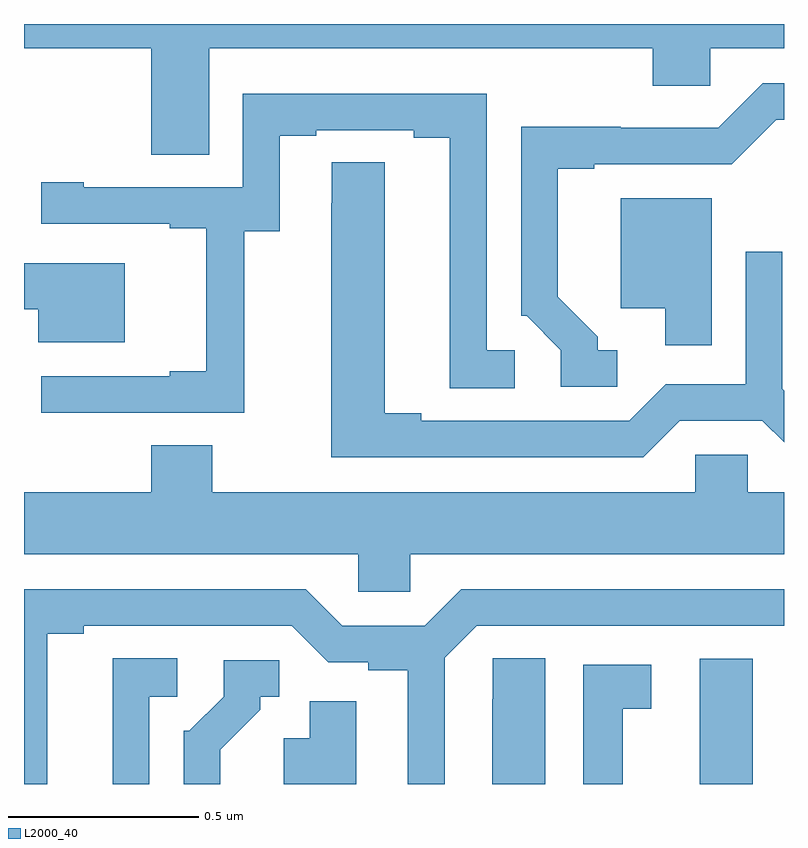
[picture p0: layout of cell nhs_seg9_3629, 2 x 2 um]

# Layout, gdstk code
import gdstk
lib = gdstk.Library(unit=1e-6, precision=1e-09)
def R(c, l, rs):  # rectangles x0, y0, x1, y1
    for r in rs: c.add(gdstk.rectangle(r[:2], r[2:], *l))
def P(c, l, *ps):  # polygons
    for p in ps: c.add(gdstk.Polygon(p, *l))
L2000_40 = (2000, 40)

nhs_seg9_3629 = lib.new_cell('nhs_seg9_3629')
R(nhs_seg9_3629, L2000_40, [(157.778,1178.5,157.918,1178.83)])
P(nhs_seg9_3629, L2000_40, [(156.487,1180.436),(157.655,1180.436),(157.655,1180.338),(157.806,1180.338),(157.806,1180.436),(158,1180.436),(158,1180.5),(156,1180.5),(156,1180.436),(156.335,1180.436),(156.335,1180.156),(156.487,1180.156)],
  [(157.561,1179.642),(157.51,1179.642),(157.51,1179.677),(157.405,1179.782),(157.405,1180.119),(157.501,1180.119),(157.501,1180.131),(157.863,1180.131),(157.98,1180.248),(158,1180.248),(158,1180.344),(157.944,1180.344),(157.827,1180.227),(157.571,1180.227),(157.571,1180.229),(157.308,1180.229),(157.308,1179.732),(157.323,1179.732),(157.413,1179.642),(157.413,1179.546),(157.561,1179.546)],
  [(156.579,1179.955),(156.673,1179.955),(156.673,1180.206),(156.769,1180.206),(156.769,1180.221),(157.025,1180.221),(157.025,1180.201),(157.121,1180.201),(157.121,1179.541),(157.291,1179.541),(157.291,1179.642),(157.218,1179.642),(157.218,1180.317),(156.576,1180.317),(156.576,1180.071),(156.157,1180.071),(156.157,1180.084),(156.045,1180.084),(156.045,1179.975),(156.383,1179.975),(156.383,1179.963),(156.479,1179.963),(156.479,1179.586),(156.383,1179.586),(156.383,1179.573),(156.045,1179.573),(156.045,1179.477),(156.579,1179.477)],
  [(157.725,1179.456),(157.943,1179.456),(158,1179.399),(158,1179.535),(157.995,1179.54),(157.995,1179.901),(157.899,1179.901),(157.899,1179.552),(157.689,1179.552),(157.593,1179.456),(157.045,1179.456),(157.045,1179.476),(156.949,1179.476),(156.949,1180.136),(156.81,1180.136),(156.81,1180.028),(156.809,1180.028),(156.809,1179.36),(157.629,1179.36)],
  [(157.81,1180.042),(157.571,1180.042),(157.571,1179.752),(157.688,1179.752),(157.688,1179.654),(157.81,1179.654)],
  [(156.265,1179.871),(156,1179.871),(156,1179.749),(156.038,1179.749),(156.038,1179.662),(156.265,1179.662)],
  [(157.017,1179.104),(158,1179.104),(158,1179.268),(157.905,1179.268),(157.905,1179.366),(157.767,1179.366),(157.767,1179.268),(156.495,1179.268),(156.495,1179.392),(156.335,1179.392),(156.335,1179.268),(156,1179.268),(156,1179.104),(156.879,1179.104),(156.879,1179.006),(157.017,1179.006)],
  [(156.061,1178.896),(156.157,1178.896),(156.157,1178.916),(156.705,1178.916),(156.801,1178.82),(156.906,1178.82),(156.906,1178.8),(157.01,1178.8),(157.01,1178.5),(157.107,1178.5),(157.107,1178.832),(157.191,1178.916),(158,1178.916),(158,1179.012),(157.151,1179.012),(157.055,1178.916),(156.837,1178.916),(156.741,1179.012),(156,1179.012),(156,1178.5),(156.061,1178.5)],
  [(157.372,1178.831),(157.233,1178.831),(157.233,1178.723),(157.232,1178.723),(157.232,1178.5),(157.372,1178.5)],
  [(156.33,1178.73),(156.403,1178.73),(156.403,1178.831),(156.233,1178.831),(156.233,1178.5),(156.33,1178.5)],
  [(156.517,1178.59),(156.622,1178.695),(156.622,1178.73),(156.672,1178.73),(156.672,1178.826),(156.525,1178.826),(156.525,1178.73),(156.435,1178.64),(156.42,1178.64),(156.42,1178.5),(156.517,1178.5)],
  [(157.576,1178.698),(157.651,1178.698),(157.651,1178.814),(157.472,1178.814),(157.472,1178.5),(157.576,1178.5)],
  [(156.874,1178.718),(156.752,1178.718),(156.752,1178.62),(156.683,1178.62),(156.683,1178.5),(156.874,1178.5)])

lib.write_gds('nhs_seg9_3629.gds')
